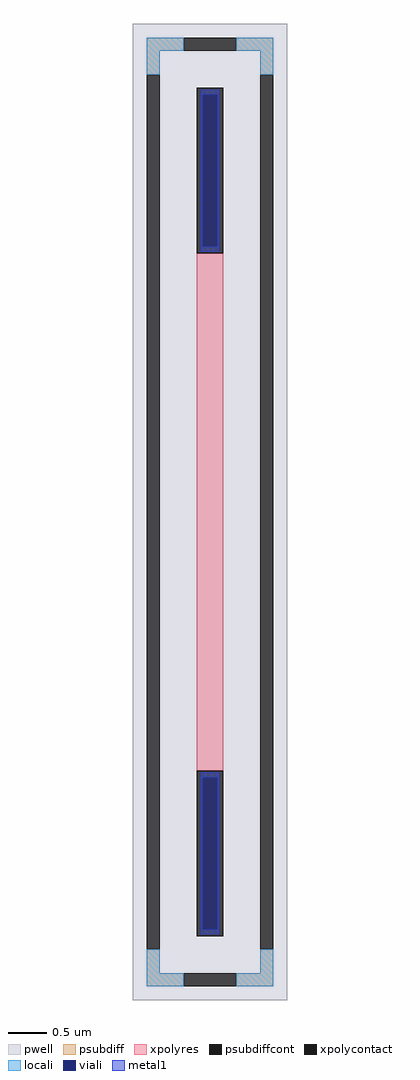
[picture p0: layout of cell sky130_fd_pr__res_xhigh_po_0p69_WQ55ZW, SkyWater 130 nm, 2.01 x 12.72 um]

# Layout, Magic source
magic
tech sky130A
magscale 1 2
<< pwell >>
rect -201 -1272 201 1272
<< psubdiff >>
rect -165 1202 -69 1236
rect 69 1202 165 1236
rect -165 1140 -131 1202
rect 131 1140 165 1202
rect -165 -1202 -131 -1140
rect 131 -1202 165 -1140
rect -165 -1236 -69 -1202
rect 69 -1236 165 -1202
<< psubdiffcont >>
rect -69 1202 69 1236
rect -165 -1140 -131 1140
rect 131 -1140 165 1140
rect -69 -1236 69 -1202
<< xpolycontact >>
rect -35 674 35 1106
rect -35 -1106 35 -674
<< xpolyres >>
rect -35 -674 35 674
<< locali >>
rect -165 1202 -69 1236
rect 69 1202 165 1236
rect -165 1140 -131 1202
rect 131 1140 165 1202
rect -165 -1202 -131 -1140
rect 131 -1202 165 -1140
rect -165 -1236 -69 -1202
rect 69 -1236 165 -1202
<< viali >>
rect -19 691 19 1088
rect -19 -1088 19 -691
<< metal1 >>
rect -25 1088 25 1100
rect -25 691 -19 1088
rect 19 691 25 1088
rect -25 679 25 691
rect -25 -691 25 -679
rect -25 -1088 -19 -691
rect 19 -1088 25 -691
rect -25 -1100 25 -1088
<< properties >>
string FIXED_BBOX -148 -1219 148 1219
string gencell sky130_fd_pr__res_xhigh_po_0p69
string library sky130
string parameters w 0.350 l 6.9 m 1 nx 1 wmin 0.350 lmin 0.50 rho 2000 val 40.504k dummy 0 dw 0.0 term 188.2 sterm 0.0 caplen 0 wmax 0.350 guard 1 glc 1 grc 1 gtc 1 gbc 1 compatible {sky130_fd_pr__res_xhigh_po_0p35  sky130_fd_pr__res_xhigh_po_0p69 sky130_fd_pr__res_xhigh_po_1p41  sky130_fd_pr__res_xhigh_po_2p85 sky130_fd_pr__res_xhigh_po_5p73} snake 0 full_metal 1 n_guard 0 hv_guard 0 vias 1 viagb 0 viagt 0 viagl 0 viagr 0
<< end >>
